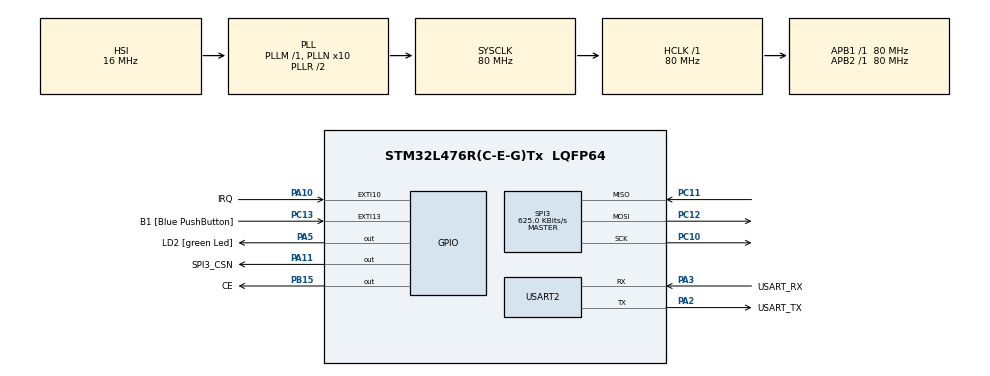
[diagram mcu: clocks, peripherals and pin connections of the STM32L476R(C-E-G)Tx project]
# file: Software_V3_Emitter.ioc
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Mcu.Family=STM32L4
Mcu.Name=STM32L476R(C-E-G)Tx
Mcu.Package=LQFP64
NVIC.EXTI15_10_IRQn=true\:0\:0\:false\:false\:true\:true\:true\:true
NVIC.PriorityGroup=NVIC_PRIORITYGROUP_4
NVIC.SPI3_IRQn=true\:0\:0\:false\:false\:true\:true\:true\:true
NVIC.USART2_IRQn=true\:0\:0\:false\:false\:true\:true\:true\:true
PA10.GPIO_Label=IRQ
PA10.GPIO_ModeDefaultEXTI=GPIO_MODE_IT_FALLING
PA10.Signal=GPXTI10
PA11.GPIO_Label=SPI3_CSN
PA11.GPIO_Speed=GPIO_SPEED_FREQ_HIGH
PA11.PinState=GPIO_PIN_SET
PA11.Signal=GPIO_Output
PA13\ (JTMS-SWDIO).GPIO_Label=TMS
PA13\ (JTMS-SWDIO).Mode=Serial_Wire
PA13\ (JTMS-SWDIO).Signal=SYS_JTMS-SWDIO
PA14\ (JTCK-SWCLK).GPIO_Label=TCK
PA14\ (JTCK-SWCLK).Mode=Serial_Wire
PA14\ (JTCK-SWCLK).Signal=SYS_JTCK-SWCLK
PA2.GPIO_Label=USART_TX
PA2.GPIO_Mode=GPIO_MODE_AF_PP
PA2.GPIO_PuPd=GPIO_NOPULL
PA2.GPIO_Speed=GPIO_SPEED_FREQ_VERY_HIGH
PA2.Mode=Asynchronous
PA2.Signal=USART2_TX
PA3.GPIO_Label=USART_RX
PA3.GPIO_Mode=GPIO_MODE_AF_PP
PA3.GPIO_PuPd=GPIO_NOPULL
PA3.GPIO_Speed=GPIO_SPEED_FREQ_VERY_HIGH
PA3.Mode=Asynchronous
PA3.Signal=USART2_RX
PA5.GPIO_Label=LD2 [green Led]
PA5.GPIO_ModeDefaultOutputPP=GPIO_MODE_OUTPUT_PP
PA5.GPIO_PuPd=GPIO_NOPULL
PA5.GPIO_Speed=GPIO_SPEED_FREQ_LOW
PA5.Signal=GPIO_Output
PB15.GPIO_Label=CE
PB15.GPIO_Speed=GPIO_SPEED_FREQ_HIGH
PB15.Signal=GPIO_Output
PB3\ (JTDO-TRACESWO).GPIO_Label=SWO
PB3\ (JTDO-TRACESWO).Signal=SYS_JTDO-SWO
PC10.Mode=Full_Duplex_Master
PC10.Signal=SPI3_SCK
PC11.Mode=Full_Duplex_Master
PC11.Signal=SPI3_MISO
PC12.Mode=Full_Duplex_Master
PC12.Signal=SPI3_MOSI
PC13.GPIO_Label=B1 [Blue PushButton]
PC13.GPIO_ModeDefaultEXTI=GPIO_MODE_IT_FALLING
PC13.GPIO_PuPd=GPIO_NOPULL
PC13.Signal=GPXTI13
PC14-OSC32_IN\ (PC14).Mode=LSE-External-Oscillator
PC14-OSC32_IN\ (PC14).Signal=RCC_OSC32_IN
PC15-OSC32_OUT\ (PC15).Mode=LSE-External-Oscillator
PC15-OSC32_OUT\ (PC15).Signal=RCC_OSC32_OUT
PH0-OSC_IN\ (PH0).Signal=RCC_OSC_IN
PH1-OSC_OUT\ (PH1).Signal=RCC_OSC_OUT
ProjectManager.HeapSize=0x200
ProjectManager.StackSize=0x400
ProjectManager.TargetToolchain=STM32CubeIDE
RCC.ADCFreq_Value=64000000
RCC.AHBFreq_Value=80000000
RCC.APB1Freq_Value=80000000
RCC.APB1TimFreq_Value=80000000
RCC.APB2Freq_Value=80000000
RCC.APB2TimFreq_Value=80000000
RCC.CortexFreq_Value=80000000
RCC.HCLKFreq_Value=80000000
RCC.HSE_VALUE=8000000
RCC.HSI_VALUE=16000000
RCC.MSI_VALUE=4000000
RCC.PLLN=10
RCC.PLLSourceVirtual=RCC_PLLSOURCE_HSI
RCC.PREFETCH_ENABLE=1
RCC.SYSCLKFreq_VALUE=80000000
RCC.SYSCLKSource=RCC_SYSCLKSOURCE_PLLCLK
RCC.USBFreq_Value=64000000
RCC.VCOOutputFreq_Value=160000000
SPI3.BaudRatePrescaler=SPI_BAUDRATEPRESCALER_128
SPI3.CalculateBaudRate=625.0 KBits/s
SPI3.DataSize=SPI_DATASIZE_8BIT
SPI3.Direction=SPI_DIRECTION_2LINES
SPI3.Mode=SPI_MODE_MASTER
SPI3.VirtualType=VM_MASTER
USART2.VirtualMode-Asynchronous=VM_ASYNC
board=NUCLEO-L476RG

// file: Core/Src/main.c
/* USER CODE BEGIN Header */
/**
  ******************************************************************************
  * @file           : main.c
  * @brief          : Main program body
  ******************************************************************************
  * @attention
  *
  * Copyright (c) 2025 STMicroelectronics.
  * All rights reserved.
  *
  * This software is licensed under terms that can be found in the LICENSE file
  * in the root directory of this software component.
  * If no LICENSE file comes with this software, it is provided AS-IS.
  *
  ******************************************************************************
  */
/* USER CODE END Header */
#include "main.h"

/* USER CODE BEGIN Includes */

#include "nrf24l01p.h"
#include "communication.h"

/* USER CODE END Includes */

/* USER CODE BEGIN PD */

#define TRANSMITTER

/* USER CODE END PD */

SPI_HandleTypeDef hspi3;

UART_HandleTypeDef huart2;

/* USER CODE BEGIN PV */

char command[BUFF_SIZE];
int data_received_usb = 0;
char* trame;

/* USER CODE END PV */

void SystemClock_Config(void);
static void MX_GPIO_Init(void);
static void MX_USART2_UART_Init(void);
static void MX_SPI3_Init(void);
/* USER CODE BEGIN PFP */
void HAL_GPIO_EXTI_Callback(uint16_t GPIO_Pin);
extern void HAL_UART_RxCpltCallback(UART_HandleTypeDef *huart);

/* USER CODE END PFP */

int main(void)
{

  /* MCU Configuration--------------------------------------------------------*/

  /* Reset of all peripherals, Initializes the Flash interface and the Systick. */
  HAL_Init();

  /* Configure the system clock */
  SystemClock_Config();

  /* Initialize all configured peripherals */
  MX_GPIO_Init();
  MX_USART2_UART_Init();
  MX_SPI3_Init();
  /* USER CODE BEGIN 2 */

 HAL_UART_Receive_IT(&huart2, (uint8_t*)command, BUFF_SIZE);

 #ifdef TRANSMITTER			//NRF24L01 Private variables
	nrf24l01p_tx_init(2500, _250kbps);
 #endif

  /* USER CODE END 2 */

  /* Infinite loop */
  while (1)
  {

    /* USER CODE BEGIN 3 */

	  if (data_received_usb == 1)
	  {
		  HAL_GPIO_WritePin(GPIOA, GPIO_PIN_5, 1);

		  const char delim[] = " ";
		  trame = strtok(command, delim);		// Convert command into char*

		  //transmit_to_pc(trame);

		  char message[NRF24L01P_PAYLOAD_LENGTH] = {0};
		  sprintf(message,trame);
		  nrf24l01p_tx_transmit((uint8_t*)message);

		  memset(command, 0, BUFF_SIZE);  // Efface l'ancien message
		  HAL_Delay(100);

		  data_received_usb = 0;
	  }

	  /*
	  char message[NRF24L01P_PAYLOAD_LENGTH] = {0};
	  sprintf(message,"12345\n\r");
	  nrf24l01p_tx_transmit((uint8_t*)message);
	  HAL_Delay(100);
	  */

  }

  /* USER CODE END 3 */
}

void SystemClock_Config(void)
{
  RCC_OscInitTypeDef RCC_OscInitStruct = {0};
  RCC_ClkInitTypeDef RCC_ClkInitStruct = {0};

  /** Configure the main internal regulator output voltage
  */
  if (HAL_PWREx_ControlVoltageScaling(PWR_REGULATOR_VOLTAGE_SCALE1) != HAL_OK)
  {
    Error_Handler();
  }

  /** Initializes the RCC Oscillators according to the specified parameters
  * in the RCC_OscInitTypeDef structure.
  */
  RCC_OscInitStruct.OscillatorType = RCC_OSCILLATORTYPE_HSI;
  RCC_OscInitStruct.HSIState = RCC_HSI_ON;
  RCC_OscInitStruct.HSICalibrationValue = RCC_HSICALIBRATION_DEFAULT;
  RCC_OscInitStruct.PLL.PLLState = RCC_PLL_ON;
  RCC_OscInitStruct.PLL.PLLSource = RCC_PLLSOURCE_HSI;
  RCC_OscInitStruct.PLL.PLLM = 1;
  RCC_OscInitStruct.PLL.PLLN = 10;
  RCC_OscInitStruct.PLL.PLLP = RCC_PLLP_DIV7;
  RCC_OscInitStruct.PLL.PLLQ = RCC_PLLQ_DIV2;
  RCC_OscInitStruct.PLL.PLLR = RCC_PLLR_DIV2;
  if (HAL_RCC_OscConfig(&RCC_OscInitStruct) != HAL_OK)
  {
    Error_Handler();
  }

  /** Initializes the CPU, AHB and APB buses clocks
  */
  RCC_ClkInitStruct.ClockType = RCC_CLOCKTYPE_HCLK|RCC_CLOCKTYPE_SYSCLK
                              |RCC_CLOCKTYPE_PCLK1|RCC_CLOCKTYPE_PCLK2;
  RCC_ClkInitStruct.SYSCLKSource = RCC_SYSCLKSOURCE_PLLCLK;
  RCC_ClkInitStruct.AHBCLKDivider = RCC_SYSCLK_DIV1;
  RCC_ClkInitStruct.APB1CLKDivider = RCC_HCLK_DIV1;
  RCC_ClkInitStruct.APB2CLKDivider = RCC_HCLK_DIV1;

  if (HAL_RCC_ClockConfig(&RCC_ClkInitStruct, FLASH_LATENCY_4) != HAL_OK)
  {
    Error_Handler();
  }
}

static void MX_SPI3_Init(void)
{

  /* SPI3 parameter configuration*/
  hspi3.Instance = SPI3;
  hspi3.Init.Mode = SPI_MODE_MASTER;
  hspi3.Init.Direction = SPI_DIRECTION_2LINES;
  hspi3.Init.DataSize = SPI_DATASIZE_8BIT;
  hspi3.Init.CLKPolarity = SPI_POLARITY_LOW;
  hspi3.Init.CLKPhase = SPI_PHASE_1EDGE;
  hspi3.Init.NSS = SPI_NSS_SOFT;
  hspi3.Init.BaudRatePrescaler = SPI_BAUDRATEPRESCALER_128;
  hspi3.Init.FirstBit = SPI_FIRSTBIT_MSB;
  hspi3.Init.TIMode = SPI_TIMODE_DISABLE;
  hspi3.Init.CRCCalculation = SPI_CRCCALCULATION_DISABLE;
  hspi3.Init.CRCPolynomial = 7;
  hspi3.Init.CRCLength = SPI_CRC_LENGTH_DATASIZE;
  hspi3.Init.NSSPMode = SPI_NSS_PULSE_ENABLE;
  if (HAL_SPI_Init(&hspi3) != HAL_OK)
  {
    Error_Handler();
  }

}

static void MX_USART2_UART_Init(void)
{

  huart2.Instance = USART2;
  huart2.Init.BaudRate = 115200;
  huart2.Init.WordLength = UART_WORDLENGTH_8B;
  huart2.Init.StopBits = UART_STOPBITS_1;
  huart2.Init.Parity = UART_PARITY_NONE;
  huart2.Init.Mode = UART_MODE_TX_RX;
  huart2.Init.HwFlowCtl = UART_HWCONTROL_NONE;
  huart2.Init.OverSampling = UART_OVERSAMPLING_16;
  huart2.Init.OneBitSampling = UART_ONE_BIT_SAMPLE_DISABLE;
  huart2.AdvancedInit.AdvFeatureInit = UART_ADVFEATURE_NO_INIT;
  if (HAL_UART_Init(&huart2) != HAL_OK)
  {
    Error_Handler();
  }

}

static void MX_GPIO_Init(void)
{
  GPIO_InitTypeDef GPIO_InitStruct = {0};

  /* GPIO Ports Clock Enable */
  __HAL_RCC_GPIOC_CLK_ENABLE();
  __HAL_RCC_GPIOH_CLK_ENABLE();
  __HAL_RCC_GPIOA_CLK_ENABLE();
  __HAL_RCC_GPIOB_CLK_ENABLE();

  /*Configure GPIO pin Output Level */
  HAL_GPIO_WritePin(LD2_GPIO_Port, LD2_Pin, GPIO_PIN_RESET);

  /*Configure GPIO pin Output Level */
  HAL_GPIO_WritePin(CE_GPIO_Port, CE_Pin, GPIO_PIN_RESET);

  /*Configure GPIO pin Output Level */
  HAL_GPIO_WritePin(SPI3_CSN_GPIO_Port, SPI3_CSN_Pin, GPIO_PIN_SET);

  /*Configure GPIO pin : B1_Pin */
  GPIO_InitStruct.Pin = B1_Pin;
  GPIO_InitStruct.Mode = GPIO_MODE_IT_FALLING;
  GPIO_InitStruct.Pull = GPIO_NOPULL;
  HAL_GPIO_Init(B1_GPIO_Port, &GPIO_InitStruct);

  /*Configure GPIO pin : LD2_Pin */
  GPIO_InitStruct.Pin = LD2_Pin;
  GPIO_InitStruct.Mode = GPIO_MODE_OUTPUT_PP;
  GPIO_InitStruct.Pull = GPIO_NOPULL;
  GPIO_InitStruct.Speed = GPIO_SPEED_FREQ_LOW;
  HAL_GPIO_Init(LD2_GPIO_Port, &GPIO_InitStruct);

  /*Configure GPIO pin : CE_Pin */
  GPIO_InitStruct.Pin = CE_Pin;
  GPIO_InitStruct.Mode = GPIO_MODE_OUTPUT_PP;
  GPIO_InitStruct.Pull = GPIO_NOPULL;
  GPIO_InitStruct.Speed = GPIO_SPEED_FREQ_HIGH;
  HAL_GPIO_Init(CE_GPIO_Port, &GPIO_InitStruct);

  /*Configure GPIO pin : IRQ_Pin */
  GPIO_InitStruct.Pin = IRQ_Pin;
  GPIO_InitStruct.Mode = GPIO_MODE_IT_FALLING;
  GPIO_InitStruct.Pull = GPIO_NOPULL;
  HAL_GPIO_Init(IRQ_GPIO_Port, &GPIO_InitStruct);

  /*Configure GPIO pin : SPI3_CSN_Pin */
  GPIO_InitStruct.Pin = SPI3_CSN_Pin;
  GPIO_InitStruct.Mode = GPIO_MODE_OUTPUT_PP;
  GPIO_InitStruct.Pull = GPIO_NOPULL;
  GPIO_InitStruct.Speed = GPIO_SPEED_FREQ_HIGH;
  HAL_GPIO_Init(SPI3_CSN_GPIO_Port, &GPIO_InitStruct);

  /* EXTI interrupt init*/
  HAL_NVIC_SetPriority(EXTI15_10_IRQn, 0, 0);
  HAL_NVIC_EnableIRQ(EXTI15_10_IRQn);

}

/* USER CODE BEGIN 4 */

void HAL_GPIO_EXTI_Callback(uint16_t GPIO_Pin) {

	if(GPIO_Pin == NRF24L01P_IRQ_PIN_NUMBER) {
#ifdef TRANSMITTER
		nrf24l01p_tx_irq();
#endif
	}

}

/* USER CODE END 4 */

void Error_Handler(void)
{
  __disable_irq();
  while (1)
  {
  }
}
